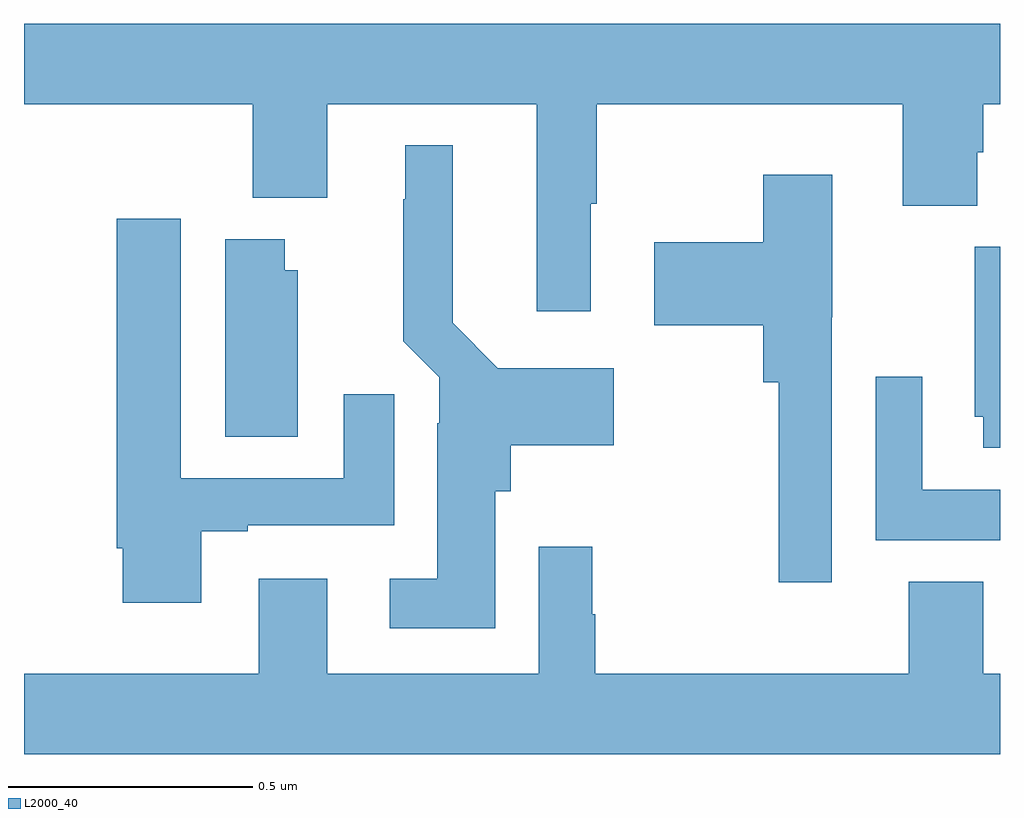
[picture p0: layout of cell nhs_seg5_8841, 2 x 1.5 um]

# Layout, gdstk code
import gdstk
lib = gdstk.Library(unit=1e-6, precision=1e-09)
def P(c, l, *ps):  # polygons
    for p in ps: c.add(gdstk.Polygon(p, *l))
L2000_40 = (2000, 40)

nhs_seg5_8841 = lib.new_cell('nhs_seg5_8841')
P(nhs_seg5_8841, L2000_40, [(227.161,895.184),(227.174,895.184),(227.174,895.388),(227.801,895.388),(227.801,895.18),(227.953,895.18),(227.953,895.289),(227.966,895.289),(227.966,895.388),(228,895.388),(228,895.552),(226,895.552),(226,895.388),(226.469,895.388),(226.469,895.196),(226.621,895.196),(226.621,895.388),(227.051,895.388),(227.051,894.963),(227.161,894.963)],
  [(226.966,894.594),(226.997,894.594),(226.997,894.689),(227.209,894.689),(227.209,894.847),(226.971,894.847),(226.879,894.94),(226.879,895.303),(226.781,895.303),(226.781,895.193),(226.777,895.193),(226.777,894.902),(226.851,894.828),(226.851,894.734),(226.847,894.734),(226.847,894.415),(226.749,894.415),(226.749,894.314),(226.966,894.314)],
  [(227.655,894.951),(227.656,894.951),(227.656,895.243),(227.515,895.243),(227.515,895.105),(227.292,895.105),(227.292,894.935),(227.515,894.935),(227.515,894.818),(227.547,894.818),(227.547,894.408),(227.655,894.408)],
  [(226.363,894.513),(226.459,894.513),(226.459,894.525),(226.759,894.525),(226.759,894.793),(226.655,894.793),(226.655,894.621),(226.321,894.621),(226.321,895.153),(226.19,895.153),(226.19,894.478),(226.202,894.478),(226.202,894.366),(226.363,894.366)],
  [(226.561,895.047),(226.534,895.047),(226.534,895.111),(226.412,895.111),(226.412,894.706),(226.561,894.706)],
  [(228,895.095),(227.948,895.095),(227.948,894.747),(227.966,894.747),(227.966,894.684),(228,894.684)],
  [(228,894.598),(227.841,894.598),(227.841,894.829),(227.745,894.829),(227.745,894.494),(228,894.494)],
  [(228,894.22),(227.966,894.22),(227.966,894.409),(227.813,894.409),(227.813,894.22),(227.171,894.22),(227.171,894.342),(227.164,894.342),(227.164,894.481),(227.055,894.481),(227.055,894.22),(226.621,894.22),(226.621,894.415),(226.481,894.415),(226.481,894.22),(226,894.22),(226,894.056),(228,894.056)])

lib.write_gds('nhs_seg5_8841.gds')
